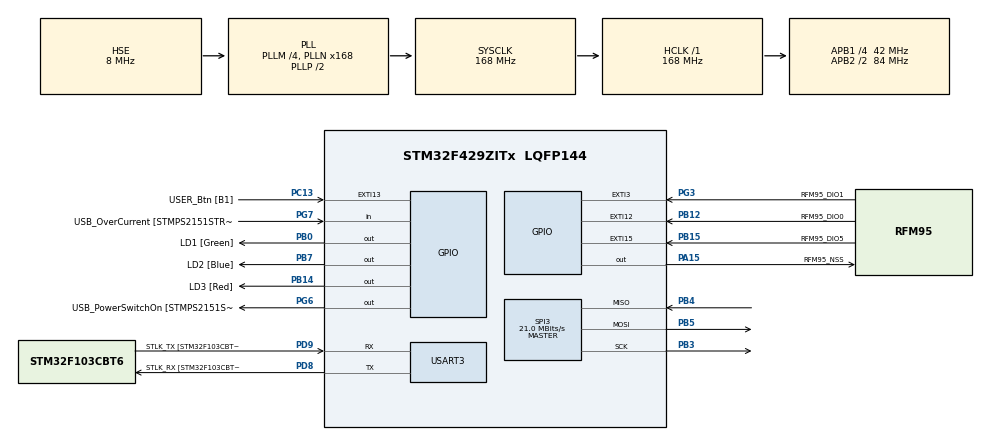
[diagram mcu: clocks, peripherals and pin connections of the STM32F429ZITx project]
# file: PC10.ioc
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Mcu.Family=STM32F4
Mcu.Name=STM32F429ZITx
Mcu.Package=LQFP144
NVIC.EXTI15_10_IRQn=true\:0\:0\:false\:false\:true\:true\:true\:true
NVIC.EXTI3_IRQn=true\:0\:0\:false\:false\:true\:true\:true\:true
NVIC.PriorityGroup=NVIC_PRIORITYGROUP_4
NVIC.SPI3_IRQn=true\:0\:0\:false\:false\:true\:true\:true\:true
PA1.GPIO_Label=RMII_REF_CLK [LAN8742A-CZ-TR_REFCLK0]
PA1.Signal=ETH_REF_CLK
PA10.GPIO_Label=USB_ID
PA10.Signal=USB_OTG_FS_ID
PA11.GPIO_Label=USB_DM
PA11.Signal=USB_OTG_FS_DM
PA12.GPIO_Label=USB_DP
PA12.Signal=USB_OTG_FS_DP
PA13.GPIO_Label=TMS
PA13.Mode=Serial_Wire
PA13.Signal=SYS_JTMS-SWDIO
PA14.GPIO_Label=TCK
PA14.Mode=Serial_Wire
PA14.Signal=SYS_JTCK-SWCLK
PA15.GPIO_Label=RFM95_NSS
PA15.Signal=GPIO_Output
PA2.GPIO_Label=RMII_MDIO [LAN8742A-CZ-TR_MDIO]
PA2.Signal=ETH_MDIO
PA7.GPIO_Label=RMII_CRS_DV [LAN8742A-CZ-TR_CRS_DV]
PA7.Signal=ETH_CRS_DV
PA8.GPIO_Label=USB_SOF [TP1]
PA8.Signal=USB_OTG_FS_SOF
PA9.GPIO_Label=USB_VBUS
PA9.Signal=USB_OTG_FS_VBUS
PB0.GPIO_Label=LD1 [Green]
PB0.Signal=GPIO_Output
PB12.GPIO_Label=RFM95_DIO0
PB12.Signal=GPXTI12
PB13.GPIO_Label=RMII_TXD1 [LAN8742A-CZ-TR_TXD1]
PB13.Signal=ETH_TXD1
PB14.GPIO_Label=LD3 [Red]
PB14.Signal=GPIO_Output
PB15.GPIO_Label=RFM95_DIO5
PB15.Signal=GPXTI15
PB3.Mode=Full_Duplex_Master
PB3.Signal=SPI3_SCK
PB4.Mode=Full_Duplex_Master
PB4.Signal=SPI3_MISO
PB5.Mode=Full_Duplex_Master
PB5.Signal=SPI3_MOSI
PB7.GPIO_Label=LD2 [Blue]
PB7.Signal=GPIO_Output
PC1.GPIO_Label=RMII_MDC [LAN8742A-CZ-TR_MDC]
PC1.Signal=ETH_MDC
PC13.GPIO_Label=USER_Btn [B1]
PC13.Signal=GPXTI13
PC14/OSC32_IN.Mode=LSE-External-Oscillator
PC14/OSC32_IN.Signal=RCC_OSC32_IN
PC15/OSC32_OUT.Mode=LSE-External-Oscillator
PC15/OSC32_OUT.Signal=RCC_OSC32_OUT
PC4.GPIO_Label=RMII_RXD0 [LAN8742A-CZ-TR_RXD0]
PC4.Signal=ETH_RXD0
PC5.GPIO_Label=RMII_RXD1 [LAN8742A-CZ-TR_RXD1]
PC5.Signal=ETH_RXD1
PD8.GPIO_Label=STLK_RX [STM32F103CBT6_PA3]
PD8.Mode=Asynchronous
PD8.Signal=USART3_TX
PD9.GPIO_Label=STLK_TX [STM32F103CBT6_PA2]
PD9.Mode=Asynchronous
PD9.Signal=USART3_RX
PG11.GPIO_Label=RMII_TX_EN [LAN8742A-CZ-TR_TXEN]
PG11.Signal=ETH_TX_EN
PG13.GPIO_Label=RMII_TXD0 [LAN8742A-CZ-TR_TXD0]
PG13.Signal=ETH_TXD0
PG3.GPIO_Label=RFM95_DIO1
PG3.Signal=GPXTI3
PG6.GPIO_Label=USB_PowerSwitchOn [STMPS2151STR_EN]
PG6.Signal=GPIO_Output
PG7.GPIO_Label=USB_OverCurrent [STMPS2151STR_FAULT]
PG7.Signal=GPIO_Input
PH0/OSC_IN.GPIO_Label=MCO [STM32F103CBT6_PA8]
PH0/OSC_IN.Mode=HSE-External-Clock-Source
PH0/OSC_IN.Signal=RCC_OSC_IN
PH1/OSC_OUT.Mode=HSE-External-Clock-Source
PH1/OSC_OUT.Signal=RCC_OSC_OUT
ProjectManager.HeapSize=0x200
ProjectManager.StackSize=0x400
ProjectManager.TargetToolchain=STM32CubeIDE
RCC.48MHZClocksFreq_Value=48000000
RCC.AHBFreq_Value=168000000
RCC.APB1CLKDivider=RCC_HCLK_DIV4
RCC.APB1Freq_Value=42000000
RCC.APB1TimFreq_Value=84000000
RCC.APB2CLKDivider=RCC_HCLK_DIV2
RCC.APB2Freq_Value=84000000
RCC.APB2TimCLKDivider=2
RCC.APB2TimFreq_Value=168000000
RCC.CortexFreq_Value=168000000
RCC.HCLKFreq_Value=168000000
RCC.HSE_VALUE=8000000
RCC.HSI_VALUE=16000000
RCC.PLLM=4
RCC.PLLMUL=RCC_PLL_MUL9
RCC.PLLN=168
RCC.PLLQ=7
RCC.PLLSourceVirtual=RCC_PLLSOURCE_HSE
RCC.PRESCALERUSB=RCC_USBCLKSOURCE_PLL_DIV1_5
RCC.SYSCLKFreq_VALUE=168000000
RCC.SYSCLKSource=RCC_SYSCLKSOURCE_PLLCLK
RCC.SYSCLKSourceVirtual=RCC_SYSCLKSOURCE_PLLCLK
RCC.USBFreq_Value=48000000
RCC.VCOOutputFreq_Value=336000000
SPI3.CalculateBaudRate=21.0 MBits/s
SPI3.Direction=SPI_DIRECTION_2LINES
SPI3.Mode=SPI_MODE_MASTER
SPI3.VirtualType=VM_MASTER
TIM2.Prescaler=4199
USART3.VirtualMode=VM_ASYNC
VP_RNG_VS_RNG.Mode=RNG_Activate
VP_TIM2_VS_ClockSourceINT.Mode=Internal
board=NUCLEO-F429ZI

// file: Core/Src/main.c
/* USER CODE BEGIN Header */
/**
  ******************************************************************************
  * @file           : main.c
  * @brief          : Main program body
  ******************************************************************************
  */
/* USER CODE END Header */
#include "main.h"

/* USER CODE BEGIN Includes */

#include <rfm95.h>
#include <string.h>
#include <stdio.h>

/* USER CODE END Includes */

RNG_HandleTypeDef hrng;

SPI_HandleTypeDef hspi3;

TIM_HandleTypeDef htim2;

UART_HandleTypeDef huart3;

/* USER CODE BEGIN PV */

char tx_buffer[64];

uint16_t msg_counter = 0;

uint32_t last_periodic_send = 0;

static uint32_t get_precision_tick();
static void precision_sleep_until(uint32_t target_ticks);
static uint8_t random_int(uint8_t max);

rfm95_handle_t rfm95_handle = {
  .spi_handle = &hspi3,
	.nss_port = RFM95_NSS_GPIO_Port,
	.nss_pin = RFM95_NSS_Pin,
	.device_address = {
			 0x26, 0x0B, 0x04, 0x83
    },
	.application_session_key = {
			0x40, 0x0A, 0xE6, 0x65, 0x1A, 0xA8, 0x92, 0x92,
			0x12, 0xC0, 0x08, 0xEC, 0xC2, 0xC1, 0x53, 0x72
    },
	.network_session_key = {
			0x80, 0x70, 0x52, 0xDA, 0x22, 0x5F, 0x54, 0xC3,
			0xB8, 0xDC, 0xAD, 0xA1, 0x8A, 0xF2, 0x85, 0x34
    },
	.receive_mode = RFM95_RECEIVE_MODE_NONE,
	.precision_tick_frequency = 20000,
	.get_precision_tick = get_precision_tick,
	.precision_sleep_until = precision_sleep_until,
	.random_int = random_int,
};

/* USER CODE END PV */

void SystemClock_Config(void);
static void MX_GPIO_Init(void);
static void MX_USART3_UART_Init(void);
static void MX_SPI3_Init(void);
static void MX_TIM2_Init(void);
static void MX_RNG_Init(void);

int main(void)
{

  /* MCU Configuration--------------------------------------------------------*/

  /* Reset of all peripherals, Initializes the Flash interface and the Systick. */
  HAL_Init();

  /* Configure the system clock */
  SystemClock_Config();

  /* Initialize all configured peripherals */
  MX_GPIO_Init();
  MX_USART3_UART_Init();
  MX_SPI3_Init();
  MX_TIM2_Init();
  MX_RNG_Init();

  /* USER CODE BEGIN 2 */
  HAL_TIM_Base_Start(&htim2);

  if (!rfm95_init(&rfm95_handle)) {
      HAL_GPIO_WritePin(GPIOB, LD3_Pin, GPIO_PIN_SET);
      while (1);
  }

  /* USER CODE END 2 */

  /* Infinite loop */
  while (1)
  {

    /* USER CODE BEGIN 3 */

      if (HAL_GPIO_ReadPin(GPIOC, USER_Btn_Pin) == GPIO_PIN_SET) {

          sprintf(tx_buffer, "246850; press");
          HAL_GPIO_WritePin(GPIOB, LD2_Pin, GPIO_PIN_SET);
          rfm95_send_receive_cycle(&rfm95_handle, (uint8_t*)tx_buffer, strlen(tx_buffer));
          HAL_GPIO_WritePin(GPIOB, LD2_Pin, GPIO_PIN_RESET);
          HAL_Delay(5000);
          last_periodic_send = HAL_GetTick();
      }

      if (HAL_GetTick() - last_periodic_send >= 30000) {

          sprintf(tx_buffer, "246850; %d", msg_counter);
          msg_counter++;
          HAL_GPIO_WritePin(GPIOB, LD2_Pin, GPIO_PIN_SET);
          rfm95_send_receive_cycle(&rfm95_handle, (uint8_t*)tx_buffer, strlen(tx_buffer));
          HAL_GPIO_WritePin(GPIOB, LD2_Pin, GPIO_PIN_RESET);

          last_periodic_send = HAL_GetTick();
      }
  }
  /* USER CODE END 3 */
}

void SystemClock_Config(void)
{
  RCC_OscInitTypeDef RCC_OscInitStruct = {0};
  RCC_ClkInitTypeDef RCC_ClkInitStruct = {0};

  /** Configure the main internal regulator output voltage
  */
  __HAL_RCC_PWR_CLK_ENABLE();
  __HAL_PWR_VOLTAGESCALING_CONFIG(PWR_REGULATOR_VOLTAGE_SCALE1);

  /** Initializes the RCC Oscillators according to the specified parameters
  * in the RCC_OscInitTypeDef structure.
  */
  RCC_OscInitStruct.OscillatorType = RCC_OSCILLATORTYPE_HSE;
  RCC_OscInitStruct.HSEState = RCC_HSE_BYPASS;
  RCC_OscInitStruct.PLL.PLLState = RCC_PLL_ON;
  RCC_OscInitStruct.PLL.PLLSource = RCC_PLLSOURCE_HSE;
  RCC_OscInitStruct.PLL.PLLM = 4;
  RCC_OscInitStruct.PLL.PLLN = 168;
  RCC_OscInitStruct.PLL.PLLP = RCC_PLLP_DIV2;
  RCC_OscInitStruct.PLL.PLLQ = 7;
  if (HAL_RCC_OscConfig(&RCC_OscInitStruct) != HAL_OK)
  {
    Error_Handler();
  }

  /** Initializes the CPU, AHB and APB buses clocks
  */
  RCC_ClkInitStruct.ClockType = RCC_CLOCKTYPE_HCLK|RCC_CLOCKTYPE_SYSCLK
                              |RCC_CLOCKTYPE_PCLK1|RCC_CLOCKTYPE_PCLK2;
  RCC_ClkInitStruct.SYSCLKSource = RCC_SYSCLKSOURCE_PLLCLK;
  RCC_ClkInitStruct.AHBCLKDivider = RCC_SYSCLK_DIV1;
  RCC_ClkInitStruct.APB1CLKDivider = RCC_HCLK_DIV4;
  RCC_ClkInitStruct.APB2CLKDivider = RCC_HCLK_DIV2;

  if (HAL_RCC_ClockConfig(&RCC_ClkInitStruct, FLASH_LATENCY_5) != HAL_OK)
  {
    Error_Handler();
  }
}

static void MX_RNG_Init(void)
{
  hrng.Instance = RNG;
  if (HAL_RNG_Init(&hrng) != HAL_OK)
  {
    Error_Handler();
  }
}

static void MX_SPI3_Init(void)
{
  hspi3.Instance = SPI3;
  hspi3.Init.Mode = SPI_MODE_MASTER;
  hspi3.Init.Direction = SPI_DIRECTION_2LINES;
  hspi3.Init.DataSize = SPI_DATASIZE_8BIT;
  hspi3.Init.CLKPolarity = SPI_POLARITY_LOW;
  hspi3.Init.CLKPhase = SPI_PHASE_1EDGE;
  hspi3.Init.NSS = SPI_NSS_SOFT;
  hspi3.Init.BaudRatePrescaler = SPI_BAUDRATEPRESCALER_2;
  hspi3.Init.FirstBit = SPI_FIRSTBIT_MSB;
  hspi3.Init.TIMode = SPI_TIMODE_DISABLE;
  hspi3.Init.CRCCalculation = SPI_CRCCALCULATION_DISABLE;
  hspi3.Init.CRCPolynomial = 10;
  if (HAL_SPI_Init(&hspi3) != HAL_OK)
  {
    Error_Handler();
  }
}

static void MX_TIM2_Init(void)
{
  TIM_ClockConfigTypeDef sClockSourceConfig = {0};
  TIM_MasterConfigTypeDef sMasterConfig = {0};

  htim2.Instance = TIM2;
  htim2.Init.Prescaler = 4199;
  htim2.Init.CounterMode = TIM_COUNTERMODE_UP;
  htim2.Init.Period = 4294967295;
  htim2.Init.ClockDivision = TIM_CLOCKDIVISION_DIV1;
  htim2.Init.AutoReloadPreload = TIM_AUTORELOAD_PRELOAD_DISABLE;
  if (HAL_TIM_Base_Init(&htim2) != HAL_OK)
  {
    Error_Handler();
  }
  sClockSourceConfig.ClockSource = TIM_CLOCKSOURCE_INTERNAL;
  if (HAL_TIM_ConfigClockSource(&htim2, &sClockSourceConfig) != HAL_OK)
  {
    Error_Handler();
  }
  sMasterConfig.MasterOutputTrigger = TIM_TRGO_RESET;
  sMasterConfig.MasterSlaveMode = TIM_MASTERSLAVEMODE_DISABLE;
  if (HAL_TIMEx_MasterConfigSynchronization(&htim2, &sMasterConfig) != HAL_OK)
  {
    Error_Handler();
  }
}

static void MX_USART3_UART_Init(void)
{
  huart3.Instance = USART3;
  huart3.Init.BaudRate = 115200;
  huart3.Init.WordLength = UART_WORDLENGTH_8B;
  huart3.Init.StopBits = UART_STOPBITS_1;
  huart3.Init.Parity = UART_PARITY_NONE;
  huart3.Init.Mode = UART_MODE_TX_RX;
  huart3.Init.HwFlowCtl = UART_HWCONTROL_NONE;
  huart3.Init.OverSampling = UART_OVERSAMPLING_16;
  if (HAL_UART_Init(&huart3) != HAL_OK)
  {
    Error_Handler();
  }
}

static void MX_GPIO_Init(void)
{
  GPIO_InitTypeDef GPIO_InitStruct = {0};

  /* GPIO Ports Clock Enable */
  __HAL_RCC_GPIOC_CLK_ENABLE();
  __HAL_RCC_GPIOH_CLK_ENABLE();
  __HAL_RCC_GPIOA_CLK_ENABLE();
  __HAL_RCC_GPIOB_CLK_ENABLE();
  __HAL_RCC_GPIOD_CLK_ENABLE();
  __HAL_RCC_GPIOG_CLK_ENABLE();

  /*Configure GPIO pin Output Level */
  HAL_GPIO_WritePin(GPIOB, LD1_Pin|LD3_Pin|LD2_Pin, GPIO_PIN_RESET);

  /*Configure GPIO pin Output Level */
  HAL_GPIO_WritePin(USB_PowerSwitchOn_GPIO_Port, USB_PowerSwitchOn_Pin, GPIO_PIN_RESET);

  /*Configure GPIO pin Output Level */
  HAL_GPIO_WritePin(RFM95_NSS_GPIO_Port, RFM95_NSS_Pin, GPIO_PIN_RESET);

  /*Configure GPIO pin : USER_Btn_Pin */
  GPIO_InitStruct.Pin = USER_Btn_Pin;
  GPIO_InitStruct.Mode = GPIO_MODE_IT_RISING;
  GPIO_InitStruct.Pull = GPIO_NOPULL;
  HAL_GPIO_Init(USER_Btn_GPIO_Port, &GPIO_InitStruct);

  /*Configure GPIO pins : RMII_MDC_Pin RMII_RXD0_Pin RMII_RXD1_Pin */
  GPIO_InitStruct.Pin = RMII_MDC_Pin|RMII_RXD0_Pin|RMII_RXD1_Pin;
  GPIO_InitStruct.Mode = GPIO_MODE_AF_PP;
  GPIO_InitStruct.Pull = GPIO_NOPULL;
  GPIO_InitStruct.Speed = GPIO_SPEED_FREQ_VERY_HIGH;
  GPIO_InitStruct.Alternate = GPIO_AF11_ETH;
  HAL_GPIO_Init(GPIOC, &GPIO_InitStruct);

  /*Configure GPIO pins : RMII_REF_CLK_Pin RMII_MDIO_Pin RMII_CRS_DV_Pin */
  GPIO_InitStruct.Pin = RMII_REF_CLK_Pin|RMII_MDIO_Pin|RMII_CRS_DV_Pin;
  GPIO_InitStruct.Mode = GPIO_MODE_AF_PP;
  GPIO_InitStruct.Pull = GPIO_NOPULL;
  GPIO_InitStruct.Speed = GPIO_SPEED_FREQ_VERY_HIGH;
  GPIO_InitStruct.Alternate = GPIO_AF11_ETH;
  HAL_GPIO_Init(GPIOA, &GPIO_InitStruct);

  /*Configure GPIO pins : LD1_Pin LD3_Pin LD2_Pin */
  GPIO_InitStruct.Pin = LD1_Pin|LD3_Pin|LD2_Pin;
  GPIO_InitStruct.Mode = GPIO_MODE_OUTPUT_PP;
  GPIO_InitStruct.Pull = GPIO_NOPULL;
  GPIO_InitStruct.Speed = GPIO_SPEED_FREQ_LOW;
  HAL_GPIO_Init(GPIOB, &GPIO_InitStruct);

  /*Configure GPIO pins : RFM95_DIO0_Pin RFM95_DIO5_Pin */
  GPIO_InitStruct.Pin = RFM95_DIO0_Pin|RFM95_DIO5_Pin;
  GPIO_InitStruct.Mode = GPIO_MODE_IT_RISING;
  GPIO_InitStruct.Pull = GPIO_NOPULL;
  HAL_GPIO_Init(GPIOB, &GPIO_InitStruct);

  /*Configure GPIO pin : RMII_TXD1_Pin */
  GPIO_InitStruct.Pin = RMII_TXD1_Pin;
  GPIO_InitStruct.Mode = GPIO_MODE_AF_PP;
  GPIO_InitStruct.Pull = GPIO_NOPULL;
  GPIO_InitStruct.Speed = GPIO_SPEED_FREQ_VERY_HIGH;
  GPIO_InitStruct.Alternate = GPIO_AF11_ETH;
  HAL_GPIO_Init(RMII_TXD1_GPIO_Port, &GPIO_InitStruct);

  /*Configure GPIO pin : RFM95_DIO1_Pin */
  GPIO_InitStruct.Pin = RFM95_DIO1_Pin;
  GPIO_InitStruct.Mode = GPIO_MODE_IT_RISING;
  GPIO_InitStruct.Pull = GPIO_NOPULL;
  HAL_GPIO_Init(RFM95_DIO1_GPIO_Port, &GPIO_InitStruct);

  /*Configure GPIO pin : USB_PowerSwitchOn_Pin */
  GPIO_InitStruct.Pin = USB_PowerSwitchOn_Pin;
  GPIO_InitStruct.Mode = GPIO_MODE_OUTPUT_PP;
  GPIO_InitStruct.Pull = GPIO_NOPULL;
  GPIO_InitStruct.Speed = GPIO_SPEED_FREQ_LOW;
  HAL_GPIO_Init(USB_PowerSwitchOn_GPIO_Port, &GPIO_InitStruct);

  /*Configure GPIO pin : USB_OverCurrent_Pin */
  GPIO_InitStruct.Pin = USB_OverCurrent_Pin;
  GPIO_InitStruct.Mode = GPIO_MODE_INPUT;
  GPIO_InitStruct.Pull = GPIO_NOPULL;
  HAL_GPIO_Init(USB_OverCurrent_GPIO_Port, &GPIO_InitStruct);

  /*Configure GPIO pins : USB_SOF_Pin USB_ID_Pin USB_DM_Pin USB_DP_Pin */
  GPIO_InitStruct.Pin = USB_SOF_Pin|USB_ID_Pin|USB_DM_Pin|USB_DP_Pin;
  GPIO_InitStruct.Mode = GPIO_MODE_AF_PP;
  GPIO_InitStruct.Pull = GPIO_NOPULL;
  GPIO_InitStruct.Speed = GPIO_SPEED_FREQ_VERY_HIGH;
  GPIO_InitStruct.Alternate = GPIO_AF10_OTG_FS;
  HAL_GPIO_Init(GPIOA, &GPIO_InitStruct);

  /*Configure GPIO pin : USB_VBUS_Pin */
  GPIO_InitStruct.Pin = USB_VBUS_Pin;
  GPIO_InitStruct.Mode = GPIO_MODE_INPUT;
  GPIO_InitStruct.Pull = GPIO_NOPULL;
  HAL_GPIO_Init(USB_VBUS_GPIO_Port, &GPIO_InitStruct);

  /*Configure GPIO pin : RFM95_NSS_Pin */
  GPIO_InitStruct.Pin = RFM95_NSS_Pin;
  GPIO_InitStruct.Mode = GPIO_MODE_OUTPUT_PP;
  GPIO_InitStruct.Pull = GPIO_NOPULL;
  GPIO_InitStruct.Speed = GPIO_SPEED_FREQ_LOW;
  HAL_GPIO_Init(RFM95_NSS_GPIO_Port, &GPIO_InitStruct);

  /*Configure GPIO pins : RMII_TX_EN_Pin RMII_TXD0_Pin */
  GPIO_InitStruct.Pin = RMII_TX_EN_Pin|RMII_TXD0_Pin;
  GPIO_InitStruct.Mode = GPIO_MODE_AF_PP;
  GPIO_InitStruct.Pull = GPIO_NOPULL;
  GPIO_InitStruct.Speed = GPIO_SPEED_FREQ_VERY_HIGH;
  GPIO_InitStruct.Alternate = GPIO_AF11_ETH;
  HAL_GPIO_Init(GPIOG, &GPIO_InitStruct);

  /* EXTI interrupt init*/
  HAL_NVIC_SetPriority(EXTI3_IRQn, 0, 0);
  HAL_NVIC_EnableIRQ(EXTI3_IRQn);

  HAL_NVIC_SetPriority(EXTI15_10_IRQn, 0, 0);
  HAL_NVIC_EnableIRQ(EXTI15_10_IRQn);
}

/* USER CODE BEGIN 4 */

uint32_t get_precision_tick(void) {
    return __HAL_TIM_GET_COUNTER(&htim2);
}

void precision_sleep_until(uint32_t target_ticks) {
    while (get_precision_tick() < target_ticks) {
        /* do nothing */
    }
}

uint8_t random_int(uint8_t max) {
    uint32_t rng;
    HAL_RNG_GenerateRandomNumber(&hrng, &rng);
    return (rng % (max + 1));
}

void HAL_GPIO_EXTI_Callback(uint16_t GPIO_Pin)
{
    if (GPIO_Pin == RFM95_DIO0_Pin) {
        rfm95_on_interrupt(&rfm95_handle, RFM95_INTERRUPT_DIO0);
    } else if (GPIO_Pin == RFM95_DIO1_Pin) {
        rfm95_on_interrupt(&rfm95_handle, RFM95_INTERRUPT_DIO1);
    } else if (GPIO_Pin == RFM95_DIO5_Pin) {
        rfm95_on_interrupt(&rfm95_handle, RFM95_INTERRUPT_DIO5);
    }
}
/* USER CODE END 4 */

void Error_Handler(void)
{
  __disable_irq();
  while (1)
  {
  }
}
